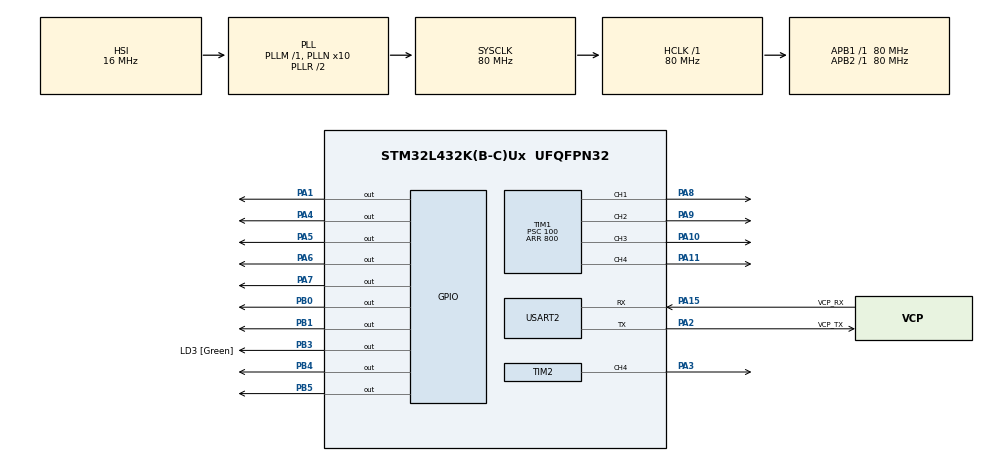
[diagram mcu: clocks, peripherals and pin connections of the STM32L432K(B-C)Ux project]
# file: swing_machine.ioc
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Mcu.Family=STM32L4
Mcu.Name=STM32L432K(B-C)Ux
Mcu.Package=UFQFPN32
NVIC.PriorityGroup=NVIC_PRIORITYGROUP_4
NVIC.TIM1_BRK_TIM15_IRQn=true\:0\:0\:false\:false\:true\:true
NVIC.TIM1_UP_TIM16_IRQn=true\:0\:0\:false\:false\:true\:false
NVIC.USART2_IRQn=true\:0\:0\:false\:false\:true\:true
PA0.GPIO_Label=MCO [High speed clock in]
PA0.Mode=HSE-External-Clock-Source-for-LittleOrca
PA0.Signal=RCC_CK_IN
PA1.Signal=GPIO_Output
PA10.GPIO_Speed=GPIO_SPEED_FREQ_HIGH
PA10.Signal=S_TIM1_CH3
PA11.GPIO_Speed=GPIO_SPEED_FREQ_HIGH
PA11.Signal=S_TIM1_CH4
PA13\ (JTMS-SWDIO).GPIO_Label=SWDIO
PA13\ (JTMS-SWDIO).Mode=Serial_Wire
PA13\ (JTMS-SWDIO).Signal=SYS_JTMS-SWDIO
PA14\ (JTCK-SWCLK).GPIO_Label=SWCLK
PA14\ (JTCK-SWCLK).Mode=Serial_Wire
PA14\ (JTCK-SWCLK).Signal=SYS_JTCK-SWCLK
PA15\ (JTDI).GPIO_Label=VCP_RX
PA15\ (JTDI).Mode=Asynchronous
PA15\ (JTDI).Signal=USART2_RX
PA2.GPIO_Label=VCP_TX
PA2.Mode=Asynchronous
PA2.Signal=USART2_TX
PA3.GPIO_Speed=GPIO_SPEED_FREQ_HIGH
PA3.Signal=S_TIM2_CH4
PA4.Signal=GPIO_Output
PA5.Signal=GPIO_Output
PA6.Signal=GPIO_Output
PA7.Signal=GPIO_Output
PA8.GPIO_Speed=GPIO_SPEED_FREQ_HIGH
PA8.Signal=S_TIM1_CH1
PA9.GPIO_Speed=GPIO_SPEED_FREQ_HIGH
PA9.Signal=S_TIM1_CH2
PB0.Signal=GPIO_Output
PB1.Signal=GPIO_Output
PB3\ (JTDO-TRACESWO).GPIO_Label=LD3 [Green]
PB3\ (JTDO-TRACESWO).Signal=GPIO_Output
PB4\ (NJTRST).Signal=GPIO_Output
PB5.Signal=GPIO_Output
PC14-OSC32_IN\ (PC14).Mode=LSE-External-Oscillator
PC14-OSC32_IN\ (PC14).Signal=RCC_OSC32_IN
PC15-OSC32_OUT\ (PC15).Mode=LSE-External-Oscillator
PC15-OSC32_OUT\ (PC15).Signal=RCC_OSC32_OUT
ProjectManager.HeapSize=0x200
ProjectManager.StackSize=0x400
ProjectManager.TargetToolchain=SW4STM32
RCC.ADCFreq_Value=64000000
RCC.AHBFreq_Value=80000000
RCC.APB1Freq_Value=80000000
RCC.APB1TimFreq_Value=80000000
RCC.APB2Freq_Value=80000000
RCC.APB2TimFreq_Value=80000000
RCC.CortexFreq_Value=80000000
RCC.HCLKFreq_Value=80000000
RCC.HSE_VALUE=8000000
RCC.HSI16_VALUE=16000000
RCC.HSI48_VALUE=48000000
RCC.HSI_VALUE=16000000
RCC.MSI_VALUE=4000000
RCC.PLLMUL=RCC_PLLMUL_4
RCC.PLLN=10
RCC.PLLSourceVirtual=RCC_PLLSOURCE_HSI
RCC.SYSCLKFreq_VALUE=80000000
RCC.SYSCLKSource=RCC_SYSCLKSOURCE_PLLCLK
RCC.USBFreq_Value=64000000
RCC.VCOOutputFreq_Value=160000000
SH.S_TIM1_CH1.0=TIM1_CH1,PWM Generation1 CH1
SH.S_TIM1_CH2.0=TIM1_CH2,PWM Generation2 CH2
SH.S_TIM1_CH3.0=TIM1_CH3,PWM Generation3 CH3
SH.S_TIM1_CH4.0=TIM1_CH4,PWM Generation4 CH4
SH.S_TIM2_CH4.0=TIM2_CH4,PWM Generation4 CH4
TIM1.Channel-PWM\ Generation1\ CH1=TIM_CHANNEL_1
TIM1.Channel-PWM\ Generation2\ CH2=TIM_CHANNEL_2
TIM1.Channel-PWM\ Generation3\ CH3=TIM_CHANNEL_3
TIM1.Channel-PWM\ Generation4\ CH4=TIM_CHANNEL_4
TIM1.OCFastMode_PWM-PWM\ Generation1\ CH1=TIM_OCFAST_ENABLE
TIM1.OCFastMode_PWM-PWM\ Generation2\ CH2=TIM_OCFAST_ENABLE
TIM1.OCFastMode_PWM-PWM\ Generation3\ CH3=TIM_OCFAST_ENABLE
TIM1.OCFastMode_PWM-PWM\ Generation4\ CH4=TIM_OCFAST_ENABLE
TIM1.Period=800
TIM1.Prescaler=100
TIM1.Pulse-PWM\ Generation1\ CH1=0
TIM1.Pulse-PWM\ Generation2\ CH2=0
TIM15.Period=4000
TIM15.Prescaler=10000
TIM2.Channel-PWM\ Generation4\ CH4=TIM_CHANNEL_4
TIM2.OCFastMode_PWM-PWM\ Generation4\ CH4=TIM_OCFAST_ENABLE
TIM2.Period=1600
TIM2.Prescaler=1000
USART2.VirtualMode-Asynchronous=VM_ASYNC
VP_TIM15_VS_ClockSourceINT.Mode=Internal
board=NUCLEO-L432KC

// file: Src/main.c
/**
  ******************************************************************************
  * @file           : main.c
  * @brief          : Main program body
  ******************************************************************************
  ** This notice applies to any and all portions of this file
  * that are not between comment pairs USER CODE BEGIN and
  * USER CODE END. Other portions of this file, whether
  * inserted by the user or by software development tools
  * are owned by their respective copyright owners.
  *
  * COPYRIGHT(c) 2018 STMicroelectronics
  *
  * Redistribution and use in source and binary forms, with or without modification,
  * are permitted provided that the following conditions are met:
  *   1. Redistributions of source code must retain the above copyright notice,
  *      this list of conditions and the following disclaimer.
  *   2. Redistributions in binary form must reproduce the above copyright notice,
  *      this list of conditions and the following disclaimer in the documentation
  *      and/or other materials provided with the distribution.
  *   3. Neither the name of STMicroelectronics nor the names of its contributors
  *      may be used to endorse or promote products derived from this software
  *      without specific prior written permission.
  *
  * THIS SOFTWARE IS PROVIDED BY THE COPYRIGHT HOLDERS AND CONTRIBUTORS "AS IS"
  * AND ANY EXPRESS OR IMPLIED WARRANTIES, INCLUDING, BUT NOT LIMITED TO, THE
  * IMPLIED WARRANTIES OF MERCHANTABILITY AND FITNESS FOR A PARTICULAR PURPOSE ARE
  * DISCLAIMED. IN NO EVENT SHALL THE COPYRIGHT HOLDER OR CONTRIBUTORS BE LIABLE
  * FOR ANY DIRECT, INDIRECT, INCIDENTAL, SPECIAL, EXEMPLARY, OR CONSEQUENTIAL
  * DAMAGES (INCLUDING, BUT NOT LIMITED TO, PROCUREMENT OF SUBSTITUTE GOODS OR
  * SERVICES; LOSS OF USE, DATA, OR PROFITS; OR BUSINESS INTERRUPTION) HOWEVER
  * CAUSED AND ON ANY THEORY OF LIABILITY, WHETHER IN CONTRACT, STRICT LIABILITY,
  * OR TORT (INCLUDING NEGLIGENCE OR OTHERWISE) ARISING IN ANY WAY OUT OF THE USE
  * OF THIS SOFTWARE, EVEN IF ADVISED OF THE POSSIBILITY OF SUCH DAMAGE.
  *
  ******************************************************************************
  */
#include "main.h"
#include "stm32l4xx_hal.h"

/* USER CODE BEGIN Includes */
#include "lwj.h"

/* USER CODE END Includes */

TIM_HandleTypeDef htim1;
TIM_HandleTypeDef htim2;
TIM_HandleTypeDef htim15;

UART_HandleTypeDef huart2;

/* USER CODE BEGIN PV */
/* Private variables ---------------------------------------------------------*/

/* USER CODE END PV */

void SystemClock_Config(void);
static void MX_GPIO_Init(void);
static void MX_USART2_UART_Init(void);
static void MX_TIM1_Init(void);
static void MX_TIM2_Init(void);
static void MX_TIM15_Init(void);
void HAL_TIM_MspPostInit(TIM_HandleTypeDef *htim);

/* USER CODE BEGIN PFP */
/* Private function prototypes -----------------------------------------------*/

/* USER CODE END PFP */

/* USER CODE BEGIN 0 */
uint32_t cnt;
extern uint32_t wait;

void HAL_TIM_PeriodElapsedCallback(TIM_HandleTypeDef *htim)
{
	if(wait == 1)		// swing machine wait flag
	{
		if(++cnt == 2)	//	1초
		{
			wait = 0;
			cnt = 0;
		}
	}

}

extern uint32_t PWM_Pulse; // Maximum value default
uint8_t get_value;
uint8_t buf[20];	//	UART로 받을 값을 저장.

/* USER CODE END 0 */

int main(void)
{

  /* MCU Configuration----------------------------------------------------------*/

  /* Reset of all peripherals, Initializes the Flash interface and the Systick. */
  HAL_Init();

  /* Configure the system clock */
  SystemClock_Config();

  /* Initialize all configured peripherals */
  MX_GPIO_Init();
  MX_USART2_UART_Init();
  MX_TIM1_Init();
  MX_TIM2_Init();
  MX_TIM15_Init();
  /* USER CODE BEGIN 2 */

  // 타이머 인터럽트 가동. 0.5sec 주기
  HAL_TIM_Base_Start_IT(&htim15);

  // 바퀴구동을 위한 PWM, 1ms 주기
  HAL_TIM_PWM_Start_IT(&htim1, TIM_CHANNEL_1 );
  HAL_TIM_PWM_Start_IT(&htim1, TIM_CHANNEL_2 );
  HAL_TIM_PWM_Start_IT(&htim1, TIM_CHANNEL_3 );
  HAL_TIM_PWM_Start_IT(&htim1, TIM_CHANNEL_4 );

  // Swing Machine을 위한 PWM, 20ms 주기
  HAL_TIM_PWM_Start_IT(&htim2, TIM_CHANNEL_4 );

  /* USER CODE END 2 */

  /* Infinite loop */
  while (1)
  {

  /* USER CODE BEGIN 3 */

	  // UART로 수신한 값을 받을 때 수행.
	  if(HAL_UART_Receive_IT(&huart2, buf, sizeof(buf)) == HAL_OK)
	  {
		  //HAL_UART_Transmit_IT(&huart2, buf, sizeof(buf));
		  get_value = buf[0]-'0';
		  memset((char*)buf, 0, sizeof(buf));
		  Wheel_Control( get_value , PWM_Pulse);

	  }

	  Swing_Contorl( get_value);

/*	  PWM신호 테스트.

	  __HAL_TIM_SET_COMPARE(&htim2, TIM_CHANNEL_4, swing_pwm);
	  swing_pwm++;

	  if(swing_pwm == 1600)
	  	  swing_pwm=0;
	  HAL_Delay(1000);
*/

  }
  /* USER CODE END 3 */

}

void SystemClock_Config(void)
{

  RCC_OscInitTypeDef RCC_OscInitStruct;
  RCC_ClkInitTypeDef RCC_ClkInitStruct;
  RCC_PeriphCLKInitTypeDef PeriphClkInit;

    /**Initializes the CPU, AHB and APB busses clocks
    */
  RCC_OscInitStruct.OscillatorType = RCC_OSCILLATORTYPE_HSI;
  RCC_OscInitStruct.HSIState = RCC_HSI_ON;
  RCC_OscInitStruct.HSICalibrationValue = 16;
  RCC_OscInitStruct.PLL.PLLState = RCC_PLL_ON;
  RCC_OscInitStruct.PLL.PLLSource = RCC_PLLSOURCE_HSI;
  RCC_OscInitStruct.PLL.PLLM = 1;
  RCC_OscInitStruct.PLL.PLLN = 10;
  RCC_OscInitStruct.PLL.PLLP = RCC_PLLP_DIV7;
  RCC_OscInitStruct.PLL.PLLQ = RCC_PLLQ_DIV2;
  RCC_OscInitStruct.PLL.PLLR = RCC_PLLR_DIV2;
  if (HAL_RCC_OscConfig(&RCC_OscInitStruct) != HAL_OK)
  {
    _Error_Handler(__FILE__, __LINE__);
  }

    /**Initializes the CPU, AHB and APB busses clocks
    */
  RCC_ClkInitStruct.ClockType = RCC_CLOCKTYPE_HCLK|RCC_CLOCKTYPE_SYSCLK
                              |RCC_CLOCKTYPE_PCLK1|RCC_CLOCKTYPE_PCLK2;
  RCC_ClkInitStruct.SYSCLKSource = RCC_SYSCLKSOURCE_PLLCLK;
  RCC_ClkInitStruct.AHBCLKDivider = RCC_SYSCLK_DIV1;
  RCC_ClkInitStruct.APB1CLKDivider = RCC_HCLK_DIV1;
  RCC_ClkInitStruct.APB2CLKDivider = RCC_HCLK_DIV1;

  if (HAL_RCC_ClockConfig(&RCC_ClkInitStruct, FLASH_LATENCY_4) != HAL_OK)
  {
    _Error_Handler(__FILE__, __LINE__);
  }

  PeriphClkInit.PeriphClockSelection = RCC_PERIPHCLK_USART2;
  PeriphClkInit.Usart2ClockSelection = RCC_USART2CLKSOURCE_PCLK1;
  if (HAL_RCCEx_PeriphCLKConfig(&PeriphClkInit) != HAL_OK)
  {
    _Error_Handler(__FILE__, __LINE__);
  }

    /**Configure the main internal regulator output voltage
    */
  if (HAL_PWREx_ControlVoltageScaling(PWR_REGULATOR_VOLTAGE_SCALE1) != HAL_OK)
  {
    _Error_Handler(__FILE__, __LINE__);
  }

    /**Configure the Systick interrupt time
    */
  HAL_SYSTICK_Config(HAL_RCC_GetHCLKFreq()/1000);

    /**Configure the Systick
    */
  HAL_SYSTICK_CLKSourceConfig(SYSTICK_CLKSOURCE_HCLK);

  /* SysTick_IRQn interrupt configuration */
  HAL_NVIC_SetPriority(SysTick_IRQn, 0, 0);
}

/* TIM1 init function */
static void MX_TIM1_Init(void)
{

  TIM_MasterConfigTypeDef sMasterConfig;
  TIM_OC_InitTypeDef sConfigOC;
  TIM_BreakDeadTimeConfigTypeDef sBreakDeadTimeConfig;

  htim1.Instance = TIM1;
  htim1.Init.Prescaler = 100;
  htim1.Init.CounterMode = TIM_COUNTERMODE_UP;
  htim1.Init.Period = 800;
  htim1.Init.ClockDivision = TIM_CLOCKDIVISION_DIV1;
  htim1.Init.RepetitionCounter = 0;
  htim1.Init.AutoReloadPreload = TIM_AUTORELOAD_PRELOAD_DISABLE;
  if (HAL_TIM_PWM_Init(&htim1) != HAL_OK)
  {
    _Error_Handler(__FILE__, __LINE__);
  }

  sMasterConfig.MasterOutputTrigger = TIM_TRGO_RESET;
  sMasterConfig.MasterOutputTrigger2 = TIM_TRGO2_RESET;
  sMasterConfig.MasterSlaveMode = TIM_MASTERSLAVEMODE_DISABLE;
  if (HAL_TIMEx_MasterConfigSynchronization(&htim1, &sMasterConfig) != HAL_OK)
  {
    _Error_Handler(__FILE__, __LINE__);
  }

  sConfigOC.OCMode = TIM_OCMODE_PWM1;
  sConfigOC.Pulse = 0;
  sConfigOC.OCPolarity = TIM_OCPOLARITY_HIGH;
  sConfigOC.OCNPolarity = TIM_OCNPOLARITY_HIGH;
  sConfigOC.OCFastMode = TIM_OCFAST_ENABLE;
  sConfigOC.OCIdleState = TIM_OCIDLESTATE_RESET;
  sConfigOC.OCNIdleState = TIM_OCNIDLESTATE_RESET;
  if (HAL_TIM_PWM_ConfigChannel(&htim1, &sConfigOC, TIM_CHANNEL_1) != HAL_OK)
  {
    _Error_Handler(__FILE__, __LINE__);
  }

  if (HAL_TIM_PWM_ConfigChannel(&htim1, &sConfigOC, TIM_CHANNEL_2) != HAL_OK)
  {
    _Error_Handler(__FILE__, __LINE__);
  }

  if (HAL_TIM_PWM_ConfigChannel(&htim1, &sConfigOC, TIM_CHANNEL_3) != HAL_OK)
  {
    _Error_Handler(__FILE__, __LINE__);
  }

  if (HAL_TIM_PWM_ConfigChannel(&htim1, &sConfigOC, TIM_CHANNEL_4) != HAL_OK)
  {
    _Error_Handler(__FILE__, __LINE__);
  }

  sBreakDeadTimeConfig.OffStateRunMode = TIM_OSSR_DISABLE;
  sBreakDeadTimeConfig.OffStateIDLEMode = TIM_OSSI_DISABLE;
  sBreakDeadTimeConfig.LockLevel = TIM_LOCKLEVEL_OFF;
  sBreakDeadTimeConfig.DeadTime = 0;
  sBreakDeadTimeConfig.BreakState = TIM_BREAK_DISABLE;
  sBreakDeadTimeConfig.BreakPolarity = TIM_BREAKPOLARITY_HIGH;
  sBreakDeadTimeConfig.BreakFilter = 0;
  sBreakDeadTimeConfig.Break2State = TIM_BREAK2_DISABLE;
  sBreakDeadTimeConfig.Break2Polarity = TIM_BREAK2POLARITY_HIGH;
  sBreakDeadTimeConfig.Break2Filter = 0;
  sBreakDeadTimeConfig.AutomaticOutput = TIM_AUTOMATICOUTPUT_DISABLE;
  if (HAL_TIMEx_ConfigBreakDeadTime(&htim1, &sBreakDeadTimeConfig) != HAL_OK)
  {
    _Error_Handler(__FILE__, __LINE__);
  }

  HAL_TIM_MspPostInit(&htim1);

}

/* TIM2 init function */
static void MX_TIM2_Init(void)
{

  TIM_MasterConfigTypeDef sMasterConfig;
  TIM_OC_InitTypeDef sConfigOC;

  htim2.Instance = TIM2;
  htim2.Init.Prescaler = 1000;
  htim2.Init.CounterMode = TIM_COUNTERMODE_UP;
  htim2.Init.Period = 1600;
  htim2.Init.ClockDivision = TIM_CLOCKDIVISION_DIV1;
  htim2.Init.AutoReloadPreload = TIM_AUTORELOAD_PRELOAD_DISABLE;
  if (HAL_TIM_PWM_Init(&htim2) != HAL_OK)
  {
    _Error_Handler(__FILE__, __LINE__);
  }

  sMasterConfig.MasterOutputTrigger = TIM_TRGO_RESET;
  sMasterConfig.MasterSlaveMode = TIM_MASTERSLAVEMODE_DISABLE;
  if (HAL_TIMEx_MasterConfigSynchronization(&htim2, &sMasterConfig) != HAL_OK)
  {
    _Error_Handler(__FILE__, __LINE__);
  }

  sConfigOC.OCMode = TIM_OCMODE_PWM1;
  sConfigOC.Pulse = 0;
  sConfigOC.OCPolarity = TIM_OCPOLARITY_HIGH;
  sConfigOC.OCFastMode = TIM_OCFAST_ENABLE;
  if (HAL_TIM_PWM_ConfigChannel(&htim2, &sConfigOC, TIM_CHANNEL_4) != HAL_OK)
  {
    _Error_Handler(__FILE__, __LINE__);
  }

  HAL_TIM_MspPostInit(&htim2);

}

/* TIM15 init function */
static void MX_TIM15_Init(void)
{

  TIM_ClockConfigTypeDef sClockSourceConfig;
  TIM_MasterConfigTypeDef sMasterConfig;

  htim15.Instance = TIM15;
  htim15.Init.Prescaler = 10000;
  htim15.Init.CounterMode = TIM_COUNTERMODE_UP;
  htim15.Init.Period = 4000;
  htim15.Init.ClockDivision = TIM_CLOCKDIVISION_DIV1;
  htim15.Init.RepetitionCounter = 0;
  htim15.Init.AutoReloadPreload = TIM_AUTORELOAD_PRELOAD_DISABLE;
  if (HAL_TIM_Base_Init(&htim15) != HAL_OK)
  {
    _Error_Handler(__FILE__, __LINE__);
  }

  sClockSourceConfig.ClockSource = TIM_CLOCKSOURCE_INTERNAL;
  if (HAL_TIM_ConfigClockSource(&htim15, &sClockSourceConfig) != HAL_OK)
  {
    _Error_Handler(__FILE__, __LINE__);
  }

  sMasterConfig.MasterOutputTrigger = TIM_TRGO_RESET;
  sMasterConfig.MasterSlaveMode = TIM_MASTERSLAVEMODE_DISABLE;
  if (HAL_TIMEx_MasterConfigSynchronization(&htim15, &sMasterConfig) != HAL_OK)
  {
    _Error_Handler(__FILE__, __LINE__);
  }

}

/* USART2 init function */
static void MX_USART2_UART_Init(void)
{

  huart2.Instance = USART2;
  huart2.Init.BaudRate = 9600;
  huart2.Init.WordLength = UART_WORDLENGTH_8B;
  huart2.Init.StopBits = UART_STOPBITS_1;
  huart2.Init.Parity = UART_PARITY_NONE;
  huart2.Init.Mode = UART_MODE_TX_RX;
  huart2.Init.HwFlowCtl = UART_HWCONTROL_NONE;
  huart2.Init.OverSampling = UART_OVERSAMPLING_16;
  huart2.Init.OneBitSampling = UART_ONE_BIT_SAMPLE_DISABLE;
  huart2.AdvancedInit.AdvFeatureInit = UART_ADVFEATURE_NO_INIT;
  if (HAL_UART_Init(&huart2) != HAL_OK)
  {
    _Error_Handler(__FILE__, __LINE__);
  }

}

/** Configure pins as
        * Analog
        * Input
        * Output
        * EVENT_OUT
        * EXTI
*/
static void MX_GPIO_Init(void)
{

  GPIO_InitTypeDef GPIO_InitStruct;

  /* GPIO Ports Clock Enable */
  __HAL_RCC_GPIOC_CLK_ENABLE();
  __HAL_RCC_GPIOA_CLK_ENABLE();
  __HAL_RCC_GPIOB_CLK_ENABLE();

  /*Configure GPIO pin Output Level */
  HAL_GPIO_WritePin(GPIOA, GPIO_PIN_1|GPIO_PIN_4|GPIO_PIN_5|GPIO_PIN_6
                          |GPIO_PIN_7, GPIO_PIN_RESET);

  /*Configure GPIO pin Output Level */
  HAL_GPIO_WritePin(GPIOB, GPIO_PIN_0|GPIO_PIN_1|LD3_Pin|GPIO_PIN_4
                          |GPIO_PIN_5, GPIO_PIN_RESET);

  /*Configure GPIO pins : PA1 PA4 PA5 PA6
                           PA7 */
  GPIO_InitStruct.Pin = GPIO_PIN_1|GPIO_PIN_4|GPIO_PIN_5|GPIO_PIN_6
                          |GPIO_PIN_7;
  GPIO_InitStruct.Mode = GPIO_MODE_OUTPUT_PP;
  GPIO_InitStruct.Pull = GPIO_NOPULL;
  GPIO_InitStruct.Speed = GPIO_SPEED_FREQ_LOW;
  HAL_GPIO_Init(GPIOA, &GPIO_InitStruct);

  /*Configure GPIO pins : PB0 PB1 LD3_Pin PB4
                           PB5 */
  GPIO_InitStruct.Pin = GPIO_PIN_0|GPIO_PIN_1|LD3_Pin|GPIO_PIN_4
                          |GPIO_PIN_5;
  GPIO_InitStruct.Mode = GPIO_MODE_OUTPUT_PP;
  GPIO_InitStruct.Pull = GPIO_NOPULL;
  GPIO_InitStruct.Speed = GPIO_SPEED_FREQ_LOW;
  HAL_GPIO_Init(GPIOB, &GPIO_InitStruct);

}

/* USER CODE BEGIN 4 */
void ControlWheel(void)
{

}
/* USER CODE END 4 */

void _Error_Handler(char *file, int line)
{
  while(1)
  {
  }
}

/************************ (C) COPYRIGHT STMicroelectronics *****END OF FILE****/
